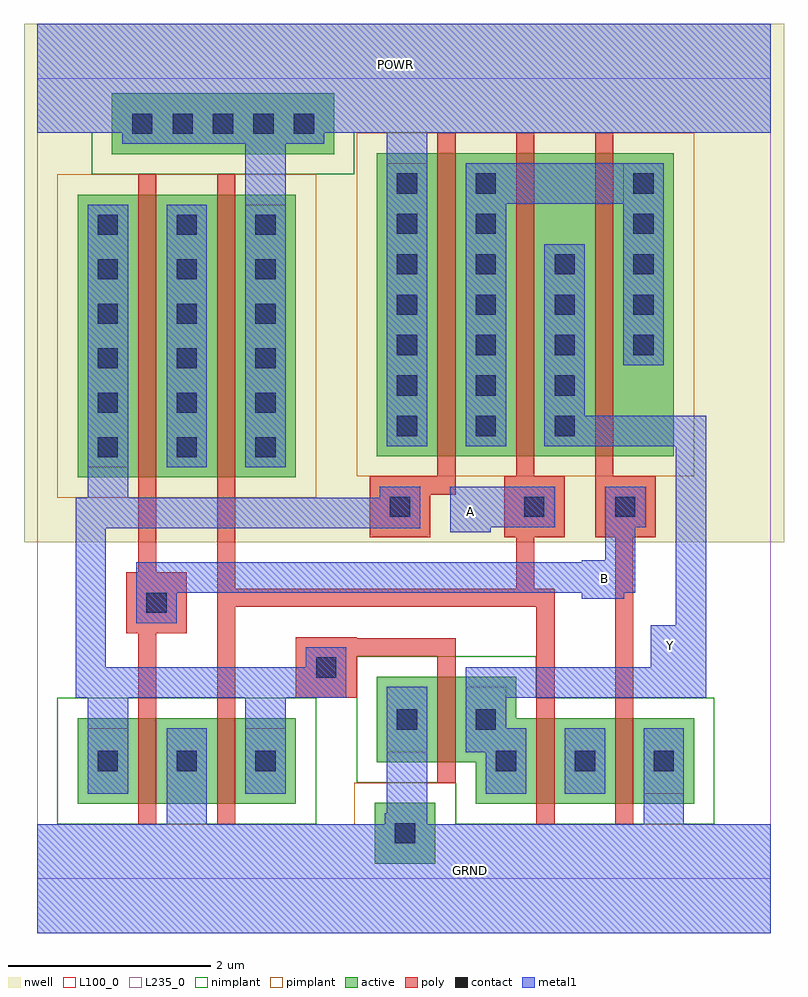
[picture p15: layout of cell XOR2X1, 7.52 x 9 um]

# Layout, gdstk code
import gdstk
lib = gdstk.Library(unit=1e-6, precision=1e-09)
def R(c, l, rs):  # rectangles x0, y0, x1, y1
    for r in rs: c.add(gdstk.rectangle(r[:2], r[2:], *l))
def A(c, l, x, y, w, h, nx, ny, dx, dy):  # array of equal rectangles
    R(c, l, [(x+i*dx, y+j*dy, x+i*dx+w, y+j*dy+h) for i in range(nx) for j in range(ny)])
def P(c, l, *ps):  # polygons
    for p in ps: c.add(gdstk.Polygon(p, *l))
active = (1, 0)
nwell = (2, 0)
poly = (3, 0)
nimplant = (4, 0)
pimplant = (5, 0)
contact = (6, 0)
metal1 = (7, 0)
L100_0 = (100, 0)
L235_0 = (235, 0)

xor2x1 = lib.new_cell('XOR2X1')
A(xor2x1, active, 0.4, 0.74, 0.6, 0.85, 3, 1, 0.78, 0)
A(xor2x1, active, 0.4, 3.97, 0.6, 2.8, 3, 1, 0.78, 0)
A(xor2x1, active, 3.36, 4.18, 0.6, 3, 4, 1, 0.78, 0)
A(xor2x1, active, 3.96, 4.18, 0.18, 3, 3, 1, 0.78, 0)
R(xor2x1, active, [(3.34,0.15,3.94,0.75), (1,0.74,1.18,1.59), (1.78,0.74,1.96,1.59), (4.94,0.74,5.12,1.59), (5.12,0.74,5.72,1.59), (5.72,0.74,5.9,1.59), (5.9,0.74,6.5,1.59), (3.36,1.15,3.96,2), (3.96,1.15,4.14,2), (1,3.97,1.18,6.77), (1.78,3.97,1.96,6.77), (0.74,7.17,2.94,7.77)])
P(xor2x1, active, [(4.94,1.59),(4.74,1.59),(4.74,2),(4.14,2),(4.14,1.15),(4.34,1.15),(4.34,0.74),(4.94,0.74)])
R(xor2x1, nwell, [(-0.13,3.33,7.39,8.46)])
A(xor2x1, poly, 3.96, 3.98, 0.18, 0.2, 3, 2, 0.78, 3.2)
A(xor2x1, poly, 3.96, 3.98, 0.18, 3.4, 3, 1, 0.78, 0)
R(xor2x1, poly, [(1,0.54,1.18,0.74), (1,0.54,1.18,1.79), (1.78,0.54,1.96,0.74), (1.78,0.54,1.96,1.79), (4.94,0.54,5.12,0.74), (4.94,0.54,5.12,1.79), (5.72,0.54,5.9,0.74), (5.72,0.54,5.9,1.79), (3.96,0.95,4.14,1.15), (3.96,0.95,4.14,2.2), (1,1.59,1.18,1.79), (1.78,1.59,1.96,1.79), (4.94,1.59,5.12,1.79), (5.72,1.59,5.9,1.79), (3.96,2,4.14,2.2), (1,3.77,1.18,3.97), (1,3.77,1.18,6.97), (1.78,3.77,1.96,3.97), (1.78,3.77,1.96,6.97), (1,6.77,1.18,6.97), (1.78,6.77,1.96,6.97)])
P(xor2x1, poly, [(5.22,3.98),(4.62,3.98),(4.62,3.38),(4.74,3.38),(4.74,2.87),(1.96,2.87),(1.96,3.83),(1.78,3.83),(1.78,1.74),(1.96,1.74),(1.96,2.69),(4.94,2.69),(4.94,1.77),(5.12,1.77),(5.12,2.87),(4.92,2.87),(4.92,3.38),(5.22,3.38)],
  [(4.14,3.98),(3.29,3.98),(3.29,3.38),(3.89,3.38),(3.89,3.8),(4.14,3.8)],
  [(1.48,3.03),(1.18,3.03),(1.18,3.79),(1,3.79),(1,3.03),(0.88,3.03),(0.88,2.43),(1,2.43),(1,1.75),(1.18,1.75),(1.18,2.43),(1.48,2.43)],
  [(4.14,2.38),(3.16,2.38),(3.16,2.39),(2.56,2.39),(2.56,1.79),(3.16,1.79),(3.16,2.2),(4.14,2.2)],
  [(6.12,3.98),(5.52,3.98),(5.52,3.38),(5.72,3.38),(5.72,1.77),(5.9,1.77),(5.9,3.38),(6.12,3.38)])
R(xor2x1, nimplant, [(0.2,0.54,2.76,1.79)])
P(xor2x1, nimplant, [(7.26,8.46),(0,8.46),(0,7.38),(0.54,7.38),(0.54,6.97),(3.14,6.97),(3.14,7.38),(7.26,7.38)],
  [(6.7,1.79),(4.94,1.79),(4.94,2.2),(3.16,2.2),(3.16,0.95),(4.14,0.95),(4.14,0.54),(6.7,0.54)])
R(xor2x1, pimplant, [(0,-0.54,7.26,0.54), (3.14,-0.05,4.14,0.95), (0.2,3.77,2.76,6.97), (3.16,3.98,6.5,7.38)])
A(xor2x1, contact, 0.6, 1.065, 0.2, 0.2, 3, 2, 0.78, 3.105)
A(xor2x1, contact, 4.54, 1.065, 0.2, 0.2, 3, 1, 0.78, 0)
A(xor2x1, contact, 3.56, 4.38, 0.2, 0.2, 3, 2, 0.78, 0.4)
A(xor2x1, contact, 0.6, 4.61, 0.2, 0.2, 3, 5, 0.78, 0.44)
A(xor2x1, contact, 3.56, 5.18, 0.2, 0.2, 4, 3, 0.78, 0.4)
A(xor2x1, contact, 0.94, 7.37, 0.2, 0.2, 5, 1, 0.4, 0)
R(xor2x1, contact, [(3.54,0.35,3.74,0.55), (3.56,1.475,3.76,1.675), (4.34,1.475,4.54,1.675), (2.76,1.99,2.96,2.19), (1.08,2.63,1.28,2.83), (3.49,3.58,3.69,3.78), (4.82,3.58,5.02,3.78), (5.72,3.58,5.92,3.78), (3.56,6.38,3.76,6.58), (4.34,6.38,4.54,6.58), (5.9,6.38,6.1,6.58), (3.56,6.78,3.76,6.98), (4.34,6.78,4.54,6.98), (5.9,6.78,6.1,6.98)])
R(xor2x1, metal1, [(0,-0.54,7.26,0.54), (1.28,0.54,1.68,0.84), (6.07,2.04,6.5,2.51), (6.12,2.16,6.42,2.46), (5.39,2.77,5.81,3.15), (5.46,2.82,5.76,3.12), (4.14,3.48,4.44,3.78), (0,7.38,7.26,8.46)])
P(xor2x1, metal1, [(5.12,3.88),(4.09,3.88),(4.09,3.43),(4.49,3.43),(4.49,3.48),(5.12,3.48)],
  [(4.84,1.49),(4.64,1.49),(4.64,1.9),(4.24,1.9),(4.24,1.25),(4.44,1.25),(4.44,0.84),(4.84,0.84)],
  [(3.79,3.88),(3.39,3.88),(3.39,3.77),(0.9,3.77),(0.9,4.07),(0.5,4.07),(0.5,3.77),(0.38,3.77),(0.38,1.79),(0.5,1.79),(0.5,1.48),(0.9,1.48),(0.9,1.79),(2.06,1.79),(2.06,1.48),(2.46,1.48),(2.46,1.79),(3.06,1.79),(3.06,2.29),(2.66,2.29),(2.66,2.09),(0.68,2.09),(0.68,3.47),(3.79,3.47)],
  [(6.02,3.88),(5.62,3.88),(5.62,3.13),(0.98,3.13),(0.98,2.53),(1.38,2.53),(1.38,2.83),(5.92,2.83),(5.92,3.48),(6.02,3.48)],
  [(3.86,1.25),(3.46,1.25),(3.46,0.65),(3.44,0.65),(3.44,0.25),(3.84,0.25),(3.84,0.53),(3.86,0.53)],
  [(6.62,4.58),(5.42,4.58),(5.42,4.28),(6.32,4.28),(6.32,2.09),(4.24,2.09),(4.24,1.79),(6.62,1.79)],
  [(2.84,7.67),(0.84,7.67),(0.84,7.27),(2.06,7.27),(2.06,6.67),(2.46,6.67),(2.46,7.27),(2.84,7.27)])
R(xor2x1, L100_0, [(0.5,0.84,0.9,1.49), (2.06,0.84,2.46,1.49), (6,0.84,6.4,1.49), (3.46,1.25,3.86,1.9), (0.5,4.07,0.9,6.67), (2.06,4.07,2.46,6.67), (3.46,4.28,3.86,7.08), (5.8,5.08,6.2,7.08)])
P(xor2x1, L100_0, [(4.84,1.49),(4.64,1.49),(4.64,1.9),(4.24,1.9),(4.24,1.25),(4.44,1.25),(4.44,0.84),(4.84,0.84)])
R(xor2x1, L235_0, [(0,0,7.26,7.92)])
xor2x1.add(gdstk.FlexPath([(6.2,0.84),(6.2,0.54)], 0.4, ends="flush", simple_path=True, layer=7, datatype=0))  # metal1
xor2x1.add(gdstk.FlexPath([(3.66,1.25),(3.66,1.9)], 0.4, ends="flush", simple_path=True, layer=7, datatype=0))  # metal1
xor2x1.add(gdstk.FlexPath([(3.66,4.28),(3.66,7.08)], 0.4, ends="flush", simple_path=True, layer=7, datatype=0))  # metal1
xor2x1.add(gdstk.FlexPath([(4.44,4.28),(4.44,7.08)], 0.4, ends="flush", simple_path=True, layer=7, datatype=0))  # metal1
xor2x1.add(gdstk.FlexPath([(5.22,4.28),(5.22,6.28)], 0.4, ends="flush", simple_path=True, layer=7, datatype=0))  # metal1
xor2x1.add(gdstk.FlexPath([(6,5.08),(6,7.08)], 0.4, ends="flush", simple_path=True, layer=7, datatype=0))  # metal1
xor2x1.add(gdstk.FlexPath([(4.64,6.88),(5.8,6.88)], 0.4, ends="flush", simple_path=True, layer=7, datatype=0))  # metal1
xor2x1.add(gdstk.FlexPath([(3.66,7.08),(3.66,7.38)], 0.4, ends="flush", simple_path=True, layer=7, datatype=0))  # metal1
xor2x1.add(gdstk.FlexPath([(0.7,4.07),(0.7,6.67)], 0.4, ends="flush", simple_path=True, layer=7, datatype=0))  # metal1
xor2x1.add(gdstk.FlexPath([(1.48,4.07),(1.48,6.67)], 0.4, ends="flush", simple_path=True, layer=7, datatype=0))  # metal1
xor2x1.add(gdstk.FlexPath([(2.26,4.07),(2.26,6.67)], 0.4, ends="flush", simple_path=True, layer=7, datatype=0))  # metal1
xor2x1.add(gdstk.FlexPath([(5.42,0.84),(5.42,1.49)], 0.4, ends="flush", simple_path=True, layer=7, datatype=0))  # metal1
xor2x1.add(gdstk.FlexPath([(0.7,0.84),(0.7,1.49)], 0.4, ends="flush", simple_path=True, layer=7, datatype=0))  # metal1
xor2x1.add(gdstk.FlexPath([(1.48,0.84),(1.48,1.49)], 0.4, ends="flush", simple_path=True, layer=7, datatype=0))  # metal1
xor2x1.add(gdstk.FlexPath([(6.2,0.84),(6.2,1.49)], 0.4, ends="flush", simple_path=True, layer=7, datatype=0))  # metal1
xor2x1.add(gdstk.FlexPath([(2.26,0.84),(2.26,1.49)], 0.4, ends="flush", simple_path=True, layer=7, datatype=0))  # metal1
xor2x1.add(gdstk.Label('A', (4.29,3.63), layer=230, texttype=0))
xor2x1.add(gdstk.Label('B', (5.61,2.97), layer=230, texttype=0))
xor2x1.add(gdstk.Label('Y', (6.27,2.31), layer=230, texttype=0))
xor2x1.add(gdstk.Label('POWR', (3.55,8.06), layer=230, texttype=0))
xor2x1.add(gdstk.Label('GRND', (4.29,0.08), layer=230, texttype=0))

lib.write_gds('XOR2X1.gds')
